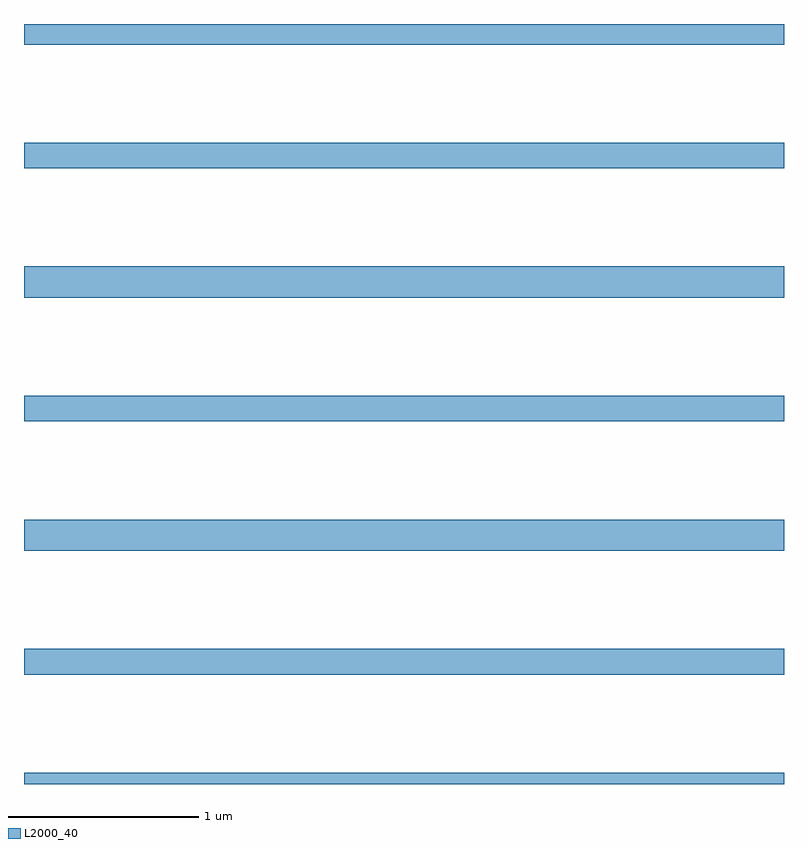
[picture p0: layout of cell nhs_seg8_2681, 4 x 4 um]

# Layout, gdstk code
import gdstk
lib = gdstk.Library(unit=1e-6, precision=1e-09)
def R(c, l, rs):  # rectangles x0, y0, x1, y1
    for r in rs: c.add(gdstk.rectangle(r[:2], r[2:], *l))
def A(c, l, x, y, w, h, nx, ny, dx, dy):  # array of equal rectangles
    R(c, l, [(x+i*dx, y+j*dy, x+i*dx+w, y+j*dy+h) for i in range(nx) for j in range(ny)])
L2000_40 = (2000, 40)

nhs_seg8_2681 = lib.new_cell('nhs_seg8_2681')
A(nhs_seg8_2681, L2000_40, 279, 1154.476, 4, 0.136, 1, 3, 0, 1.332)
R(nhs_seg8_2681, L2000_40, [(279,1153.9,283,1153.96), (279,1155.128,283,1155.292), (279,1156.46,283,1156.624), (279,1157.792,283,1157.9)])

lib.write_gds('nhs_seg8_2681.gds')
